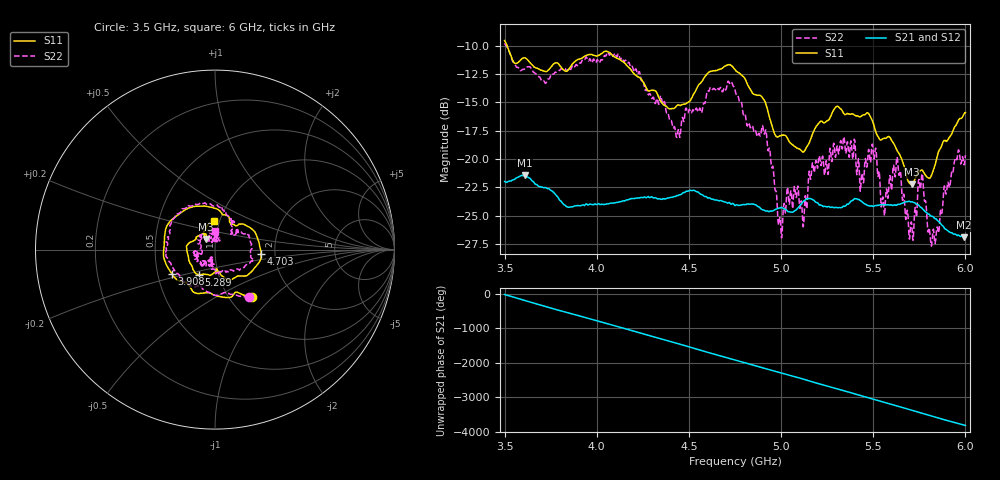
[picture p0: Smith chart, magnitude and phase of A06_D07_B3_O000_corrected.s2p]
! Created with skrf 1.9.0 (http://scikit-rf.org).
# Hz S RI R 50.0
!freq ReS11 ImS11 ReS21 ImS21 ReS12 ImS12 ReS22 ImS22
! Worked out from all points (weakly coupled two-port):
!   1601 points, 3.5 GHz to 6 GHz, reference 50 ohm
!   highest |S21| = -21.44 dB at 3.609 GHz (marker M1); lowest = -26.9 dB at 5.994 GHz (marker M2)
!   lowest |S11| = -22.2 dB at 5.709 GHz (marker M3), VSWR 1.17, Z = 45 + j5.38 ohm
!   |S11| at or under -10 dB: 3.513 GHz to end of sweep
!   |S22| runs from -27.7 to -9.8 dB; largest |S21 - S12| = 0.001
!   S11 on the Smith chart (normalised r, x): 3.5 GHz: 1.27, -0.75; 3.908 GHz: 0.59, -0.18; 4.703 GHz: 1.69, -0.08; 5.289 GHz: 0.80, -0.23; 6 GHz: 0.94, +0.31
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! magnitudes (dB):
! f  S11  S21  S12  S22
! 3.5 GHz  -9.6  -22.0  -22.0  -9.8
! 3.609 GHz  -11.1  -21.4  -21.4  -12.0
! 3.908 GHz  -11.2  -24.1  -24.1  -11.6
! 3.917 GHz  -11.1  -24.1  -24.1  -11.4
! 4.334 GHz  -14.5  -23.5  -23.5  -15.1
! 4.441 GHz  -15.2  -23.2  -23.2  -17.5
! 4.703 GHz  -11.8  -23.8  -23.8  -13.8
! 4.75 GHz  -12.1  -24.1  -24.0  -13.9
! 4.911 GHz  -14.9  -24.5  -24.5  -17.8
! 4.995 GHz  -17.9  -24.3  -24.3  -25.2
! 5.128 GHz  -19.3  -23.6  -23.6  -23.9
! 5.167 GHz  -17.9  -23.5  -23.5  -20.7
! 5.289 GHz  -15.6  -24.3  -24.3  -18.9
! 5.503 GHz  -17.0  -24.2  -24.1  -20.0
! 5.552 GHz  -18.2  -24.0  -24.0  -23.3
! 5.584 GHz  -18.0  -24.1  -24.0  -22.5
! 5.638 GHz  -19.5  -24.0  -24.0  -21.2
! 5.709 GHz  -22.2  -23.8  -23.7  -25.9
! 5.756 GHz  -21.0  -24.2  -24.2  -22.7
! 5.825 GHz  -21.0  -25.1  -25.1  -26.3
! 5.994 GHz  -16.0  -26.9  -26.8  -20.5
! 6 GHz  -15.9  -26.9  -26.9  -19.7
